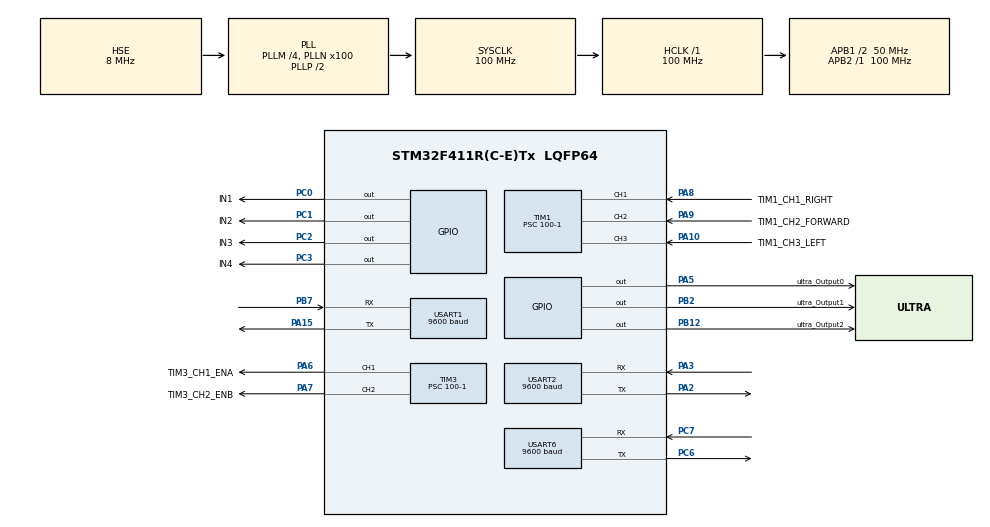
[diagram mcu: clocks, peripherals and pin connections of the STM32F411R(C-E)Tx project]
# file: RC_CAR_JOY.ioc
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FREERTOS.Tasks01=ultra,24,128,ultrasonic,Default,NULL,Dynamic,NULL,NULL;carmode,8,128,changemode,Default,NULL,Dynamic,NULL,NULL;auto_mobility,8,128,automoblilty,Default,NULL,Dynamic,NULL,NULL;uart,8,128,usart_slave,Default,NULL,Dynamic,NULL,NULL
FREERTOS.configUSE_NEWLIB_REENTRANT=1
Mcu.Family=STM32F4
Mcu.Name=STM32F411R(C-E)Tx
Mcu.Package=LQFP64
NVIC.PriorityGroup=NVIC_PRIORITYGROUP_4
NVIC.TIM1_CC_IRQn=true\:5\:0\:false\:false\:true\:true\:true\:true\:true
NVIC.TIM1_TRG_COM_TIM11_IRQn=true\:15\:0\:false\:false\:true\:false\:false\:true\:true
NVIC.TIM1_UP_TIM10_IRQn=true\:5\:0\:false\:false\:true\:true\:true\:true\:true
NVIC.TIM3_IRQn=true\:5\:0\:false\:false\:true\:true\:true\:true\:true
NVIC.TimeBase=TIM1_TRG_COM_TIM11_IRQn
NVIC.TimeBaseIP=TIM11
NVIC.USART1_IRQn=true\:5\:0\:false\:false\:true\:true\:true\:true\:true
NVIC.USART2_IRQn=true\:5\:0\:false\:false\:true\:true\:true\:true\:true
PA10.GPIO_Label=TIM1_CH3_LEFT
PA10.Signal=S_TIM1_CH3
PA13.Mode=Serial_Wire
PA13.Signal=SYS_JTMS-SWDIO
PA14.Mode=Serial_Wire
PA14.Signal=SYS_JTCK-SWCLK
PA15.Mode=Asynchronous
PA15.Signal=USART1_TX
PA2.Mode=Asynchronous
PA2.Signal=USART2_TX
PA3.Mode=Asynchronous
PA3.Signal=USART2_RX
PA5.GPIO_Label=ultra_Output0
PA5.Signal=GPIO_Output
PA6.GPIO_Label=TIM3_CH1_ENA
PA6.Signal=S_TIM3_CH1
PA7.GPIO_Label=TIM3_CH2_ENB
PA7.Signal=S_TIM3_CH2
PA8.GPIO_Label=TIM1_CH1_RIGHT
PA8.Signal=S_TIM1_CH1
PA9.GPIO_Label=TIM1_CH2_FORWARD
PA9.Signal=S_TIM1_CH2
PB12.GPIO_Label=ultra_Output2
PB12.Signal=GPIO_Output
PB2.GPIO_Label=ultra_Output1
PB2.Signal=GPIO_Output
PB7.Mode=Asynchronous
PB7.Signal=USART1_RX
PC0.GPIO_Label=IN1
PC0.Signal=GPIO_Output
PC1.GPIO_Label=IN2
PC1.Signal=GPIO_Output
PC2.GPIO_Label=IN3
PC2.Signal=GPIO_Output
PC3.GPIO_Label=IN4
PC3.Signal=GPIO_Output
PC6.Mode=Asynchronous
PC6.Signal=USART6_TX
PC7.Mode=Asynchronous
PC7.Signal=USART6_RX
PH0\ -\ OSC_IN.Mode=HSE-External-Oscillator
PH0\ -\ OSC_IN.Signal=RCC_OSC_IN
PH1\ -\ OSC_OUT.Mode=HSE-External-Oscillator
PH1\ -\ OSC_OUT.Signal=RCC_OSC_OUT
ProjectManager.HeapSize=0x200
ProjectManager.StackSize=0x400
ProjectManager.TargetToolchain=STM32CubeIDE
RCC.48MHZClocksFreq_Value=50000000
RCC.AHBFreq_Value=100000000
RCC.APB1CLKDivider=RCC_HCLK_DIV2
RCC.APB1Freq_Value=50000000
RCC.APB1TimFreq_Value=100000000
RCC.APB2Freq_Value=100000000
RCC.APB2TimFreq_Value=100000000
RCC.CortexFreq_Value=100000000
RCC.HCLKFreq_Value=100000000
RCC.HSE_VALUE=8000000
RCC.HSI_VALUE=16000000
RCC.LSE_VALUE=32768
RCC.PLLM=4
RCC.PLLN=100
RCC.PLLSourceVirtual=RCC_PLLSOURCE_HSE
RCC.SYSCLKFreq_VALUE=100000000
RCC.SYSCLKSource=RCC_SYSCLKSOURCE_PLLCLK
RCC.VCOOutputFreq_Value=200000000
SH.S_TIM1_CH1.0=TIM1_CH1,Input_Capture1_from_TI1
SH.S_TIM1_CH2.0=TIM1_CH2,Input_Capture2_from_TI2
SH.S_TIM1_CH3.0=TIM1_CH3,Input_Capture3_from_TI3
SH.S_TIM3_CH1.0=TIM3_CH1,PWM Generation1 CH1
SH.S_TIM3_CH2.0=TIM3_CH2,PWM Generation2 CH2
TIM1.Channel-Input_Capture1_from_TI1=TIM_CHANNEL_1
TIM1.Channel-Input_Capture2_from_TI2=TIM_CHANNEL_2
TIM1.Channel-Input_Capture3_from_TI3=TIM_CHANNEL_3
TIM1.ICFilter_CH1=4
TIM1.ICFilter_CH2=4
TIM1.ICFilter_CH3=4
TIM1.Prescaler=100-1
TIM10.Prescaler=100-1
TIM3.Channel-PWM\ Generation1\ CH1=TIM_CHANNEL_1
TIM3.Channel-PWM\ Generation2\ CH2=TIM_CHANNEL_2
TIM3.Period=1000-1
TIM3.Prescaler=100-1
USART1.BaudRate=9600
USART1.VirtualMode=VM_ASYNC
USART2.BaudRate=9600
USART2.VirtualMode=VM_ASYNC
USART6.BaudRate=9600
USART6.VirtualMode=VM_ASYNC
VP_FREERTOS_VS_CMSIS_V2.Mode=CMSIS_V2
VP_SYS_VS_tim11.Mode=TIM11
VP_TIM10_VS_ClockSourceINT.Mode=Enable_Timer
VP_TIM1_VS_ClockSourceINT.Mode=Internal
board=custom

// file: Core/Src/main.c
/* USER CODE BEGIN Header */
/**
 ******************************************************************************
 * @file           : main.c
 * @brief          : Main program body
 ******************************************************************************
 * @attention
 *
 * Copyright (c) 2025 STMicroelectronics.
 * All rights reserved.
 *
 * This software is licensed under terms that can be found in the LICENSE file
 * in the root directory of this software component.
 * If no LICENSE file comes with this software, it is provided AS-IS.
 *
 ******************************************************************************
 */
/* USER CODE END Header */
#include "main.h"
#include "cmsis_os.h"
#include "tim.h"
#include "usart.h"
#include "gpio.h"

void SystemClock_Config(void);
void MX_FREERTOS_Init(void);

int main(void)
{

  /* MCU Configuration--------------------------------------------------------*/

  /* Reset of all peripherals, Initializes the Flash interface and the Systick. */
  HAL_Init();

  /* Configure the system clock */
  SystemClock_Config();

  /* Initialize all configured peripherals */
  MX_GPIO_Init();
  MX_TIM3_Init();
  MX_USART1_UART_Init();
  MX_USART2_UART_Init();
  MX_TIM1_Init();
  MX_USART6_UART_Init();
  MX_TIM10_Init();

  /* Init scheduler */
  osKernelInitialize();  /* Call init function for freertos objects (in cmsis_os2.c) */
  MX_FREERTOS_Init();

  /* Start scheduler */
  osKernelStart();

  /* We should never get here as control is now taken by the scheduler */

  /* Infinite loop */
	while (1)
	{

	}
}

void SystemClock_Config(void)
{
  RCC_OscInitTypeDef RCC_OscInitStruct = {0};
  RCC_ClkInitTypeDef RCC_ClkInitStruct = {0};

  /** Configure the main internal regulator output voltage
  */
  __HAL_RCC_PWR_CLK_ENABLE();
  __HAL_PWR_VOLTAGESCALING_CONFIG(PWR_REGULATOR_VOLTAGE_SCALE1);

  /** Initializes the RCC Oscillators according to the specified parameters
  * in the RCC_OscInitTypeDef structure.
  */
  RCC_OscInitStruct.OscillatorType = RCC_OSCILLATORTYPE_HSE;
  RCC_OscInitStruct.HSEState = RCC_HSE_ON;
  RCC_OscInitStruct.PLL.PLLState = RCC_PLL_ON;
  RCC_OscInitStruct.PLL.PLLSource = RCC_PLLSOURCE_HSE;
  RCC_OscInitStruct.PLL.PLLM = 4;
  RCC_OscInitStruct.PLL.PLLN = 100;
  RCC_OscInitStruct.PLL.PLLP = RCC_PLLP_DIV2;
  RCC_OscInitStruct.PLL.PLLQ = 4;
  if (HAL_RCC_OscConfig(&RCC_OscInitStruct) != HAL_OK)
  {
    Error_Handler();
  }

  /** Initializes the CPU, AHB and APB buses clocks
  */
  RCC_ClkInitStruct.ClockType = RCC_CLOCKTYPE_HCLK|RCC_CLOCKTYPE_SYSCLK
                              |RCC_CLOCKTYPE_PCLK1|RCC_CLOCKTYPE_PCLK2;
  RCC_ClkInitStruct.SYSCLKSource = RCC_SYSCLKSOURCE_PLLCLK;
  RCC_ClkInitStruct.AHBCLKDivider = RCC_SYSCLK_DIV1;
  RCC_ClkInitStruct.APB1CLKDivider = RCC_HCLK_DIV2;
  RCC_ClkInitStruct.APB2CLKDivider = RCC_HCLK_DIV1;

  if (HAL_RCC_ClockConfig(&RCC_ClkInitStruct, FLASH_LATENCY_3) != HAL_OK)
  {
    Error_Handler();
  }
}

void HAL_TIM_PeriodElapsedCallback(TIM_HandleTypeDef *htim)
{
  if (htim->Instance == TIM11)
  {
    HAL_IncTick();
  }
}

void Error_Handler(void)
{
	__disable_irq();
	while (1)
	{
	}
}

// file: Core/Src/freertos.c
/* USER CODE BEGIN Header */
/**
 ******************************************************************************
 * File Name          : freertos.c
 * Description        : Code for freertos applications
 ******************************************************************************
 * @attention
 *
 * Copyright (c) 2025 STMicroelectronics.
 * All rights reserved.
 *
 * This software is licensed under terms that can be found in the LICENSE file
 * in the root directory of this software component.
 * If no LICENSE file comes with this software, it is provided AS-IS.
 *
 ******************************************************************************
 */
/* USER CODE END Header */

#include "FreeRTOS.h"
#include "task.h"
#include "main.h"
#include "cmsis_os.h"

/* USER CODE BEGIN Includes */

#include "stdio.h"
#include "handle_rc.h"
#include "delay_us.h"
#include "tim.h"
#include "usart.h"
#include "gpio.h"

/* USER CODE END Includes */

/* USER CODE BEGIN PTD */

enum {
	RIGHT_ULTRASONIC = 0,
	FORWARD_ULTRASONIC,
	LEFT_ULTRASONIC
};

/* USER CODE END PTD */

/* USER CODE BEGIN PM */

int _write(int file, unsigned char* p, int len)
{
	HAL_StatusTypeDef status = HAL_UART_Transmit(&huart2, p, len, 100);
	return (status == HAL_OK ? len : 0);
}

/* USER CODE END PM */

/* USER CODE BEGIN Variables */

uint16_t IC_Value1[3] = {0};
uint16_t IC_Value2[3] = {0};
uint16_t echoTime[3] = {0};
uint8_t captureFlag[3] = {0};
uint8_t distance[3] = {0}; // 실제 거리

/* USER CODE END Variables */
/* Definitions for ultra */
osThreadId_t ultraHandle;
const osThreadAttr_t ultra_attributes = {
  .name = "ultra",
  .stack_size = 128 * 4,
  .priority = (osPriority_t) osPriorityNormal,
};
/* Definitions for carmode */
osThreadId_t carmodeHandle;
const osThreadAttr_t carmode_attributes = {
  .name = "carmode",
  .stack_size = 128 * 4,
  .priority = (osPriority_t) osPriorityLow,
};
/* Definitions for auto_mobility */
osThreadId_t auto_mobilityHandle;
const osThreadAttr_t auto_mobility_attributes = {
  .name = "auto_mobility",
  .stack_size = 128 * 4,
  .priority = (osPriority_t) osPriorityLow,
};
/* Definitions for uart */
osThreadId_t uartHandle;
const osThreadAttr_t uart_attributes = {
  .name = "uart",
  .stack_size = 128 * 4,
  .priority = (osPriority_t) osPriorityLow,
};

/* USER CODE BEGIN FunctionPrototypes */

void HAL_UART_RxCpltCallback(UART_HandleTypeDef *huart){
}

void triggerRightUltrasonic(){
	HAL_GPIO_WritePin(GPIOA, GPIO_PIN_5, SET);
	delay_us(10);
	HAL_GPIO_WritePin(GPIOA, GPIO_PIN_5, RESET);
	__HAL_TIM_ENABLE_IT(&htim1, TIM_IT_CC1);
}

void triggerForwardUltrasonic(){
	HAL_GPIO_WritePin(GPIOB, GPIO_PIN_2, SET);
	delay_us(10);
	HAL_GPIO_WritePin(GPIOB, GPIO_PIN_2, RESET);

	__HAL_TIM_ENABLE_IT(&htim1, TIM_IT_CC2);
}

void triggerLeftUltrasonic(){
	HAL_GPIO_WritePin(GPIOB, GPIO_PIN_12, SET);
	delay_us(10);
	HAL_GPIO_WritePin(GPIOB, GPIO_PIN_12, RESET);

	__HAL_TIM_ENABLE_IT(&htim1, TIM_IT_CC3);
}

void processUltrasonicCapture(uint8_t idx, uint32_t channel){
	uint32_t tim_it_channel;

	switch(channel)
	{
	case TIM_CHANNEL_1:
		tim_it_channel = TIM_IT_CC1;
		break;
	case TIM_CHANNEL_2:
		tim_it_channel = TIM_IT_CC2;
		break;
	case TIM_CHANNEL_3:
		tim_it_channel = TIM_IT_CC3;
		break;
	default: return; // 잘못된 채널 보호
	}

	if(captureFlag[idx] == 0)
	{
		IC_Value1[idx] = HAL_TIM_ReadCapturedValue(&htim1, channel);
		captureFlag[idx] = 1;
		__HAL_TIM_SET_CAPTUREPOLARITY(&htim1, channel, TIM_INPUTCHANNELPOLARITY_FALLING);
	}
	else
	{
		IC_Value2[idx] = HAL_TIM_ReadCapturedValue(&htim1, channel);
		__HAL_TIM_SET_CAPTUREPOLARITY(&htim1, channel, TIM_INPUTCHANNELPOLARITY_RISING);

		if(IC_Value2[idx] >= IC_Value1[idx])
			echoTime[idx] = IC_Value2[idx] - IC_Value1[idx];
		else
			echoTime[idx] = (0xFFFF - IC_Value1[idx]) + IC_Value2[idx];

		distance[idx] = echoTime[idx] / 58;

		captureFlag[idx] = 0;
		__HAL_TIM_DISABLE_IT(&htim1, tim_it_channel);
	}
}

void HAL_TIM_IC_CaptureCallback(TIM_HandleTypeDef *htim){
	if(htim->Channel == HAL_TIM_ACTIVE_CHANNEL_1){
		processUltrasonicCapture(RIGHT_ULTRASONIC, TIM_CHANNEL_1);
	}

	if(htim->Channel == HAL_TIM_ACTIVE_CHANNEL_2){
		processUltrasonicCapture(FORWARD_ULTRASONIC, TIM_CHANNEL_2);
	}

	if(htim->Channel == HAL_TIM_ACTIVE_CHANNEL_3){
		processUltrasonicCapture(LEFT_ULTRASONIC, TIM_CHANNEL_3);
	}
}

/* USER CODE END FunctionPrototypes */

void ultrasonic(void *argument);
void changemode(void *argument);
void automoblilty(void *argument);
void usart_slave(void *argument);

void MX_FREERTOS_Init(void); /* (MISRA C 2004 rule 8.1) */

void MX_FREERTOS_Init(void) {
  /* USER CODE BEGIN Init */

	HAL_TIM_Base_Start(&htim10);

	HAL_TIM_IC_Start_IT(&htim1, TIM_CHANNEL_1);
	HAL_TIM_IC_Start_IT(&htim1, TIM_CHANNEL_2);
	HAL_TIM_IC_Start_IT(&htim1, TIM_CHANNEL_3);

  /* USER CODE END Init */

  /* Create the thread(s) */
  /* creation of ultra */
  ultraHandle = osThreadNew(ultrasonic, NULL, &ultra_attributes);

  /* creation of carmode */
  carmodeHandle = osThreadNew(changemode, NULL, &carmode_attributes);

  /* creation of auto_mobility */
  auto_mobilityHandle = osThreadNew(automoblilty, NULL, &auto_mobility_attributes);

  /* creation of uart */
  uartHandle = osThreadNew(usart_slave, NULL, &uart_attributes);

}

void ultrasonic(void *argument)
{
  /* USER CODE BEGIN ultrasonic */
	uint32_t lastTriggerTime = 0;

  /* Infinite loop */
    for(;;)
    {
        uint32_t currentTime = HAL_GetTick();  // 매 루프마다 업데이트

        if(currentTime - lastTriggerTime >= 60)
        {
            triggerRightUltrasonic();
            osDelay(10);  // 측정 완료 대기

            triggerForwardUltrasonic();
            osDelay(10);

            triggerLeftUltrasonic();
            osDelay(10);

            lastTriggerTime = currentTime;

            // 측정 후 출력
            printf("Right : %d cm\n", distance[0]);
            printf("Forward : %d cm\n", distance[1]);
            printf("Left : %d cm\n", distance[2]);
        }

        osDelay(1);
    }
  /* USER CODE END ultrasonic */
}

void changemode(void *argument)
{
  for(;;)
  {
    osDelay(1);
  }
}

void automoblilty(void *argument)
{
  for(;;)
  {
    osDelay(1);
  }
}

void usart_slave(void *argument)
{
	for(;;)
	{
		osDelay(1);
	}
}
